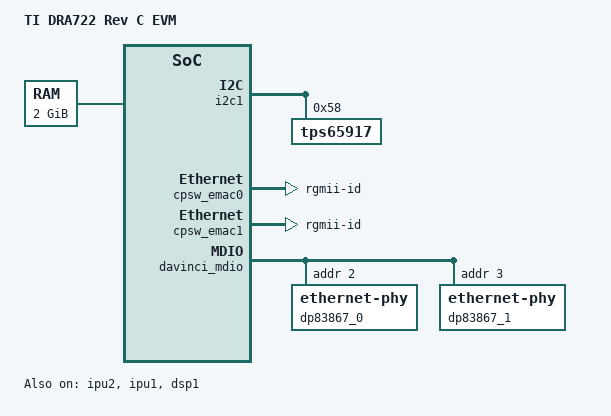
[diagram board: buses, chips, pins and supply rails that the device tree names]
/*
 * Copyright (C) 2016 Texas Instruments Incorporated - http://www.ti.com/
 *
 * This program is free software; you can redistribute it and/or modify
 * it under the terms of the GNU General Public License version 2 as
 * published by the Free Software Foundation.
 */
#include "dra72-evm-common.dtsi"
#include <dt-bindings/net/ti-dp83867.h>

/ {
	model = "TI DRA722 Rev C EVM";

	memory {
		device_type = "memory";
		reg = <0x0 0x80000000 0x0 0x80000000>; /* 2GB */
	};

	reserved-memory {
		#address-cells = <2>;
		#size-cells = <2>;
		ranges;

		ipu2_cma_pool: ipu2_cma@95800000 {
			compatible = "shared-dma-pool";
			reg = <0x0 0x95800000 0x0 0x3800000>;
			reusable;
			status = "okay";
		};

		dsp1_cma_pool: dsp1_cma@99000000 {
			compatible = "shared-dma-pool";
			reg = <0x0 0x99000000 0x0 0x4000000>;
			reusable;
			status = "okay";
		};

		ipu1_cma_pool: ipu1_cma@9d000000 {
			compatible = "shared-dma-pool";
			reg = <0x0 0x9d000000 0x0 0x2000000>;
			reusable;
			status = "okay";
		};
	};
};

&i2c1 {
	tps65917: tps65917@58 {
		reg = <0x58>;

		interrupts = <GIC_SPI 2 IRQ_TYPE_NONE>;  /* IRQ_SYS_1N */
	};
};

#include "dra72-evm-tps65917.dtsi"

&dra7_pmx_core {
	mmc1_pins_sdr12: pinmux_mmc1_sdr12_pins {
		pinctrl-single,pins = <
			0x354 (PIN_INPUT_PULLUP | MUX_MODE0)	/* mmc1_clk.clk */
			0x358 (PIN_INPUT_PULLUP | MUX_MODE0)	/* mmc1_cmd.cmd */
			0x35c (PIN_INPUT_PULLUP | MUX_MODE0)	/* mmc1_dat0.dat0 */
			0x360 (PIN_INPUT_PULLUP | MUX_MODE0)	/* mmc1_dat1.dat1 */
			0x364 (PIN_INPUT_PULLUP | MUX_MODE0)	/* mmc1_dat2.dat2 */
			0x368 (PIN_INPUT_PULLUP | MUX_MODE0)	/* mmc1_dat3.dat3 */
		>;
	};

	mmc1_pins_hs: mmc1_pins_hs {
		pinctrl-single,pins = <
			0x354 (PIN_INPUT_PULLUP | MUX_MODE0) /* mmc1_clk.clk */
			0x358 (PIN_INPUT_PULLUP | MUX_MODE0) /* mmc1_cmd.cmd */
			0x35c (PIN_INPUT_PULLUP | MUX_MODE0) /* mmc1_dat0.dat0 */
			0x360 (PIN_INPUT_PULLUP | MUX_MODE0) /* mmc1_dat1.dat1 */
			0x364 (PIN_INPUT_PULLUP | MUX_MODE0) /* mmc1_dat2.dat2 */
			0x368 (PIN_INPUT_PULLUP | MUX_MODE0) /* mmc1_dat3.dat3 */
		>;
	};

	mmc1_pins_sdr25: pinmux_mmc1_sdr25_pins {
		pinctrl-single,pins = <
			0x354 (PIN_INPUT_PULLUP | MUX_MODE0)	/* mmc1_clk.clk */
			0x358 (PIN_INPUT_PULLUP | MUX_MODE0)	/* mmc1_cmd.cmd */
			0x35c (PIN_INPUT_PULLUP | MUX_MODE0)	/* mmc1_dat0.dat0 */
			0x360 (PIN_INPUT_PULLUP | MUX_MODE0)	/* mmc1_dat1.dat1 */
			0x364 (PIN_INPUT_PULLUP | MUX_MODE0)	/* mmc1_dat2.dat2 */
			0x368 (PIN_INPUT_PULLUP | MUX_MODE0)	/* mmc1_dat3.dat3 */
		>;
	};

	mmc1_pins_sdr50: pinmux_mmc1_sdr50_pins {
		pinctrl-single,pins = <
			0x354 (PIN_INPUT_PULLUP | MUX_VIRTUAL_MODE15 | MUX_MODE0)	/* mmc1_clk.clk */
			0x358 (PIN_INPUT_PULLUP | MUX_VIRTUAL_MODE15 | MUX_MODE0)	/* mmc1_cmd.cmd */
			0x35c (PIN_INPUT_PULLUP | MUX_VIRTUAL_MODE15 | MUX_MODE0)	/* mmc1_dat0.dat0 */
			0x360 (PIN_INPUT_PULLUP | MUX_VIRTUAL_MODE15 | MUX_MODE0)	/* mmc1_dat1.dat1 */
			0x364 (PIN_INPUT_PULLUP | MUX_VIRTUAL_MODE15 | MUX_MODE0)	/* mmc1_dat2.dat2 */
			0x368 (PIN_INPUT_PULLUP | MUX_VIRTUAL_MODE15 | MUX_MODE0)	/* mmc1_dat3.dat3 */
		>;
	};

	mmc1_pins_ddr50: pinmux_mmc1_ddr50_pins {
		pinctrl-single,pins = <
			0x354 (PIN_INPUT_PULLUP | MANUAL_MODE | MUX_MODE0)	/* mmc1_clk.clk */
			0x358 (PIN_INPUT_PULLUP | MANUAL_MODE | MUX_MODE0)	/* mmc1_cmd.cmd */
			0x35c (PIN_INPUT_PULLUP | MANUAL_MODE | MUX_MODE0)	/* mmc1_dat0.dat0 */
			0x360 (PIN_INPUT_PULLUP | MANUAL_MODE | MUX_MODE0)	/* mmc1_dat1.dat1 */
			0x364 (PIN_INPUT_PULLUP | MANUAL_MODE | MUX_MODE0)	/* mmc1_dat2.dat2 */
			0x368 (PIN_INPUT_PULLUP | MANUAL_MODE | MUX_MODE0)	/* mmc1_dat3.dat3 */
		>;
	};

	mmc1_pins_sdr104: pinmux_mmc1_sdr104_pins {
		pinctrl-single,pins = <
			0x354 (PIN_INPUT_PULLUP | MANUAL_MODE | MUX_MODE0)	/* mmc1_clk.clk */
			0x358 (PIN_INPUT_PULLUP | MANUAL_MODE | MUX_MODE0)	/* mmc1_cmd.cmd */
			0x35c (PIN_INPUT_PULLUP | MANUAL_MODE | MUX_MODE0)	/* mmc1_dat0.dat0 */
			0x360 (PIN_INPUT_PULLUP | MANUAL_MODE | MUX_MODE0)	/* mmc1_dat1.dat1 */
			0x364 (PIN_INPUT_PULLUP | MANUAL_MODE | MUX_MODE0)	/* mmc1_dat2.dat2 */
			0x368 (PIN_INPUT_PULLUP | MANUAL_MODE | MUX_MODE0)	/* mmc1_dat3.dat3 */
		>;
	};

	mmc2_pins_default: mmc2_pins_default {
		pinctrl-single,pins = <
			0x9c (PIN_INPUT_PULLUP | MUX_MODE1) /* gpmc_a23.mmc2_clk */
			0xb0 (PIN_INPUT_PULLUP | MUX_MODE1) /* gpmc_cs1.mmc2_cmd */
			0xa0 (PIN_INPUT_PULLUP | MUX_MODE1) /* gpmc_a24.mmc2_dat0 */
			0xa4 (PIN_INPUT_PULLUP | MUX_MODE1) /* gpmc_a25.mmc2_dat1 */
			0xa8 (PIN_INPUT_PULLUP | MUX_MODE1) /* gpmc_a26.mmc2_dat2 */
			0xac (PIN_INPUT_PULLUP | MUX_MODE1) /* gpmc_a27.mmc2_dat3 */
			0x8c (PIN_INPUT_PULLUP | MUX_MODE1) /* gpmc_a19.mmc2_dat4 */
			0x90 (PIN_INPUT_PULLUP | MUX_MODE1) /* gpmc_a20.mmc2_dat5 */
			0x94 (PIN_INPUT_PULLUP | MUX_MODE1) /* gpmc_a21.mmc2_dat6 */
			0x98 (PIN_INPUT_PULLUP | MUX_MODE1) /* gpmc_a22.mmc2_dat7 */
		>;
	};

	mmc2_pins_hs: mmc2_pins_hs {
		pinctrl-single,pins = <
			0x9c (PIN_INPUT_PULLUP | MUX_MODE1) /* gpmc_a23.mmc2_clk */
			0xb0 (PIN_INPUT_PULLUP | MUX_MODE1) /* gpmc_cs1.mmc2_cmd */
			0xa0 (PIN_INPUT_PULLUP | MUX_MODE1) /* gpmc_a24.mmc2_dat0 */
			0xa4 (PIN_INPUT_PULLUP | MUX_MODE1) /* gpmc_a25.mmc2_dat1 */
			0xa8 (PIN_INPUT_PULLUP | MUX_MODE1) /* gpmc_a26.mmc2_dat2 */
			0xac (PIN_INPUT_PULLUP | MUX_MODE1) /* gpmc_a27.mmc2_dat3 */
			0x8c (PIN_INPUT_PULLUP | MUX_MODE1) /* gpmc_a19.mmc2_dat4 */
			0x90 (PIN_INPUT_PULLUP | MUX_MODE1) /* gpmc_a20.mmc2_dat5 */
			0x94 (PIN_INPUT_PULLUP | MUX_MODE1) /* gpmc_a21.mmc2_dat6 */
			0x98 (PIN_INPUT_PULLUP | MUX_MODE1) /* gpmc_a22.mmc2_dat7 */
		>;
	};

	mmc2_pins_ddr_1_8v: mmc2_pins_ddr_1_8v {
		pinctrl-single,pins = <
			0x9c (PIN_INPUT_PULLUP | MANUAL_MODE | MUX_MODE1) /* gpmc_a23.mmc2_clk */
			0xb0 (PIN_INPUT_PULLUP | MANUAL_MODE | MUX_MODE1) /* gpmc_cs1.mmc2_cmd */
			0xa0 (PIN_INPUT_PULLUP | MANUAL_MODE | MUX_MODE1) /* gpmc_a24.mmc2_dat0 */
			0xa4 (PIN_INPUT_PULLUP | MANUAL_MODE | MUX_MODE1) /* gpmc_a25.mmc2_dat1 */
			0xa8 (PIN_INPUT_PULLUP | MANUAL_MODE | MUX_MODE1) /* gpmc_a26.mmc2_dat2 */
			0xac (PIN_INPUT_PULLUP | MANUAL_MODE | MUX_MODE1) /* gpmc_a27.mmc2_dat3 */
			0x8c (PIN_INPUT_PULLUP | MANUAL_MODE | MUX_MODE1) /* gpmc_a19.mmc2_dat4 */
			0x90 (PIN_INPUT_PULLUP | MANUAL_MODE | MUX_MODE1) /* gpmc_a20.mmc2_dat5 */
			0x94 (PIN_INPUT_PULLUP | MANUAL_MODE | MUX_MODE1) /* gpmc_a21.mmc2_dat6 */
			0x98 (PIN_INPUT_PULLUP | MANUAL_MODE | MUX_MODE1) /* gpmc_a22.mmc2_dat7 */
		>;
	};

	mmc2_pins_hs200_1_8v: mmc2_pins_hs200_1_8v {
		pinctrl-single,pins = <
			0x9c (PIN_INPUT_PULLUP | MANUAL_MODE | MUX_MODE1) /* gpmc_a23.mmc2_clk */
			0xb0 (PIN_INPUT_PULLUP | MANUAL_MODE | MUX_MODE1) /* gpmc_cs1.mmc2_cmd */
			0xa0 (PIN_INPUT_PULLUP | MANUAL_MODE | MUX_MODE1) /* gpmc_a24.mmc2_dat0 */
			0xa4 (PIN_INPUT_PULLUP | MANUAL_MODE | MUX_MODE1) /* gpmc_a25.mmc2_dat1 */
			0xa8 (PIN_INPUT_PULLUP | MANUAL_MODE | MUX_MODE1) /* gpmc_a26.mmc2_dat2 */
			0xac (PIN_INPUT_PULLUP | MANUAL_MODE | MUX_MODE1) /* gpmc_a27.mmc2_dat3 */
			0x8c (PIN_INPUT_PULLUP | MANUAL_MODE | MUX_MODE1) /* gpmc_a19.mmc2_dat4 */
			0x90 (PIN_INPUT_PULLUP | MANUAL_MODE | MUX_MODE1) /* gpmc_a20.mmc2_dat5 */
			0x94 (PIN_INPUT_PULLUP | MANUAL_MODE | MUX_MODE1) /* gpmc_a21.mmc2_dat6 */
			0x98 (PIN_INPUT_PULLUP | MANUAL_MODE | MUX_MODE1) /* gpmc_a22.mmc2_dat7 */
		>;
	};
};

&dra7_iodelay_core {

	mmc1_iodelay_ddr50_conf: mmc1_iodelay_ddr50_conf {
		pinctrl-single,pins = <
			0x618 (A_DELAY(0) | G_DELAY(0))		/* CFG_MMC1_CLK_IN */
			0x624 (A_DELAY(0) | G_DELAY(0))		/* CFG_MMC1_CMD_IN */
			0x630 (A_DELAY(495) | G_DELAY(0))	/* CFG_MMC1_DAT0_IN */
			0x63C (A_DELAY(116) | G_DELAY(0))	/* CFG_MMC1_DAT1_IN */
			0x648 (A_DELAY(117) | G_DELAY(0))	/* CFG_MMC1_DAT2_IN */
			0x654 (A_DELAY(32) | G_DELAY(0))	/* CFG_MMC1_DAT3_IN */
			0x620 (A_DELAY(1224) | G_DELAY(0))	/* CFG_MMC1_CLK_OUT */
			0x62C (A_DELAY(0) | G_DELAY(0))		/* CFG_MMC1_CMD_OUT */
			0x638 (A_DELAY(44) | G_DELAY(0))	/* CFG_MMC1_DAT0_OUT */
			0x644 (A_DELAY(64) | G_DELAY(0))	/* CFG_MMC1_DAT1_OUT */
			0x650 (A_DELAY(79) | G_DELAY(0))	/* CFG_MMC1_DAT2_OUT */
			0x65C (A_DELAY(87) | G_DELAY(0))	/* CFG_MMC1_DAT3_OUT */
			0x628 (A_DELAY(0) | G_DELAY(0))		/* CFG_MMC1_CMD_OEN */
			0x634 (A_DELAY(0) | G_DELAY(0))		/* CFG_MMC1_DAT0_OEN */
			0x640 (A_DELAY(0) | G_DELAY(0))		/* CFG_MMC1_DAT1_OEN */
			0x64C (A_DELAY(0) | G_DELAY(0))		/* CFG_MMC1_DAT2_OEN */
			0x658 (A_DELAY(0) | G_DELAY(0))		/* CFG_MMC1_DAT3_OEN */
		>;
	};

	mmc1_iodelay_sdr104_conf: mmc1_iodelay_sdr104_conf {
		pinctrl-single,pins = <
			0x620 (A_DELAY(520) | G_DELAY(320))	/* CFG_MMC1_CLK_OUT */
			0x62c (A_DELAY(0) | G_DELAY(0))		/* CFG_MMC1_CMD_OUT */
			0x638 (A_DELAY(40) | G_DELAY(0))	/* CFG_MMC1_DAT0_OUT */
			0x644 (A_DELAY(83) | G_DELAY(0))	/* CFG_MMC1_DAT1_OUT */
			0x650 (A_DELAY(98) | G_DELAY(0))	/* CFG_MMC1_DAT2_OUT */
			0x65c (A_DELAY(106) | G_DELAY(0))	/* CFG_MMC1_DAT3_OUT */
			0x628 (A_DELAY(51) | G_DELAY(0))	/* CFG_MMC1_CMD_OEN */
			0x634 (A_DELAY(0) | G_DELAY(0))		/* CFG_MMC1_DAT0_OEN */
			0x640 (A_DELAY(363) | G_DELAY(0))	/* CFG_MMC1_DAT1_OEN */
			0x64c (A_DELAY(199) | G_DELAY(0))	/* CFG_MMC1_DAT2_OEN */
			0x658 (A_DELAY(273) | G_DELAY(0))	/* CFG_MMC1_DAT3_OEN */
		>;
	};

	mmc2_iodelay_ddr_1_8v_conf: mmc2_iodelay_ddr_1_8v_conf {
		pinctrl-single,pins = <
			0x18c (A_DELAY(0) | G_DELAY(0))		/* CFG_GPMC_A19_IN */
			0x1a4 (A_DELAY(121) | G_DELAY(0))	/* CFG_GPMC_A20_IN */
			0x1b0 (A_DELAY(0) | G_DELAY(0))		/* CFG_GPMC_A21_IN */
			0x1bc (A_DELAY(20) | G_DELAY(0))	/* CFG_GPMC_A22_IN */
			0x1c8 (A_DELAY(108) | G_DELAY(0))	/* CFG_GPMC_A23_IN */
			0x1d4 (A_DELAY(31) | G_DELAY(0))	/* CFG_GPMC_A24_IN */
			0x1e0 (A_DELAY(0) | G_DELAY(0))		/* CFG_GPMC_A25_IN */
			0x1ec (A_DELAY(24) | G_DELAY(0))	/* CFG_GPMC_A26_IN */
			0x1f8 (A_DELAY(0) | G_DELAY(0))		/* CFG_GPMC_A27_IN */
			0x360 (A_DELAY(0) | G_DELAY(0))		/* CFG_GPMC_CS1_IN */
			0x194 (A_DELAY(152) | G_DELAY(0))	/* CFG_GPMC_A19_OUT */
			0x1ac (A_DELAY(206) | G_DELAY(0))	/* CFG_GPMC_A20_OUT */
			0x1b8 (A_DELAY(78) | G_DELAY(0))	/* CFG_GPMC_A21_OUT */
			0x1c4 (A_DELAY(2) | G_DELAY(0))		/* CFG_GPMC_A22_OUT */
			0x1d0 (A_DELAY(266) | G_DELAY(0))	/* CFG_GPMC_A23_OUT */
			0x1dc (A_DELAY(0) | G_DELAY(0))		/* CFG_GPMC_A24_OUT */
			0x1e8 (A_DELAY(0) | G_DELAY(0))		/* CFG_GPMC_A25_OUT */
			0x1f4 (A_DELAY(43) | G_DELAY(0))	/* CFG_GPMC_A26_OUT */
			0x200 (A_DELAY(0) | G_DELAY(0))		/* CFG_GPMC_A27_OUT */
			0x368 (A_DELAY(0) | G_DELAY(0))		/* CFG_GPMC_CS1_OUT */
			0x190 (A_DELAY(0) | G_DELAY(0))		/* CFG_GPMC_A19_OEN */
			0x1a8 (A_DELAY(0) | G_DELAY(0))		/* CFG_GPMC_A20_OEN */
			0x1b4 (A_DELAY(0) | G_DELAY(0))		/* CFG_GPMC_A21_OEN */
			0x1c0 (A_DELAY(0) | G_DELAY(0))		/* CFG_GPMC_A22_OEN */
			0x1d8 (A_DELAY(0) | G_DELAY(0))		/* CFG_GPMC_A24_OEN */
			0x1e4 (A_DELAY(0) | G_DELAY(0))		/* CFG_GPMC_A25_OEN */
			0x1f0 (A_DELAY(0) | G_DELAY(0))		/* CFG_GPMC_A26_OEN */
			0x1fc (A_DELAY(0) | G_DELAY(0))		/* CFG_GPMC_A27_OEN */
			0x364 (A_DELAY(0) | G_DELAY(0))		/* CFG_GPMC_CS1_OEN */
		>;
	};

	mmc2_iodelay_hs200_1_8v_conf: mmc2_iodelay_hs200_1_8v_conf {
		pinctrl-single,pins = <
			0x194 (A_DELAY(135) | G_DELAY(0))	/* CFG_GPMC_A19_OUT */
			0x1ac (A_DELAY(189) | G_DELAY(0))	/* CFG_GPMC_A20_OUT */
			0x1b8 (A_DELAY(0) | G_DELAY(120))	/* CFG_GPMC_A21_OUT */
			0x1c4 (A_DELAY(0) | G_DELAY(70))	/* CFG_GPMC_A22_OUT */
			0x1d0 (A_DELAY(730) | G_DELAY(360))	/* CFG_GPMC_A23_OUT */
			0x1dc (A_DELAY(0) | G_DELAY(0))		/* CFG_GPMC_A24_OUT */
			0x1e8 (A_DELAY(0) | G_DELAY(0))		/* CFG_GPMC_A25_OUT */
			0x1f4 (A_DELAY(70) | G_DELAY(0))	/* CFG_GPMC_A26_OUT */
			0x200 (A_DELAY(0) | G_DELAY(0))		/* CFG_GPMC_A27_OUT */
			0x368 (A_DELAY(0) | G_DELAY(120))	/* CFG_GPMC_CS1_OUT */
			0x190 (A_DELAY(0) | G_DELAY(0))		/* CFG_GPMC_A19_OEN */
			0x1a8 (A_DELAY(231) | G_DELAY(0))	/* CFG_GPMC_A20_OEN */
			0x1b4 (A_DELAY(39) | G_DELAY(0))	/* CFG_GPMC_A21_OEN */
			0x1c0 (A_DELAY(91) | G_DELAY(0))	/* CFG_GPMC_A22_OEN */
			0x1d8 (A_DELAY(176) | G_DELAY(0))	/* CFG_GPMC_A24_OEN */
			0x1e4 (A_DELAY(0) | G_DELAY(0))		/* CFG_GPMC_A25_OEN */
			0x1f0 (A_DELAY(101) | G_DELAY(0))	/* CFG_GPMC_A26_OEN */
			0x1fc (A_DELAY(0) | G_DELAY(0))		/* CFG_GPMC_A27_OEN */
			0x364 (A_DELAY(360) | G_DELAY(0))	/* CFG_GPMC_CS1_OEN */
		>;
	};
};

&ldo2_reg {
	/* LDO2_OUT --> VDDA_1V8_PHY2 */
	regulator-always-on;
	regulator-boot-on;
};

&hdmi {
	vdda_video-supply = <&ldo2_reg>;
};

&pcf_gpio_21 {
	interrupt-parent = <&gpio3>;
	interrupts = <30 IRQ_TYPE_EDGE_FALLING>;
};

&mac {
	mode-gpios = <&pcf_gpio_21 4 GPIO_ACTIVE_LOW>,
		     <&pcf_hdmi 9 GPIO_ACTIVE_LOW>,	/* P11 */
		     <&pcf_hdmi 10 GPIO_ACTIVE_LOW>;	/* P12 */
	dual_emac;
};

&cpsw_emac0 {
	phy_id = <&davinci_mdio>, <2>;
	phy-mode = "rgmii-id";
	dual_emac_res_vlan = <1>;
};

&cpsw_emac1 {
	phy_id = <&davinci_mdio>, <3>;
	phy-mode = "rgmii-id";
	dual_emac_res_vlan = <2>;
};

&davinci_mdio {
	dp83867_0: ethernet-phy@2 {
		reg = <2>;
		ti,rx-internal-delay = <DP83867_RGMIIDCTL_2_25_NS>;
		ti,tx-internal-delay = <DP83867_RGMIIDCTL_250_PS>;
		ti,fifo-depth = <DP83867_PHYCR_FIFO_DEPTH_8_B_NIB>;
		ti,min-output-impedance;
	};

	dp83867_1: ethernet-phy@3 {
		reg = <3>;
		ti,rx-internal-delay = <DP83867_RGMIIDCTL_2_25_NS>;
		ti,tx-internal-delay = <DP83867_RGMIIDCTL_250_PS>;
		ti,fifo-depth = <DP83867_PHYCR_FIFO_DEPTH_8_B_NIB>;
		ti,min-output-impedance;
	};
};

&mmc1 {
	pinctrl-names = "default", "hs", "sdr12", "sdr25", "sdr50", "ddr50", "sdr104";
	pinctrl-0 = <&mmc1_pins_default>;
	pinctrl-1 = <&mmc1_pins_hs>;
	pinctrl-2 = <&mmc1_pins_sdr12>;
	pinctrl-3 = <&mmc1_pins_sdr25>;
	pinctrl-4 = <&mmc1_pins_sdr50>;
	pinctrl-5 = <&mmc1_pins_ddr50 &mmc1_iodelay_ddr50_conf>;
	pinctrl-6 = <&mmc1_pins_sdr104 &mmc1_iodelay_sdr104_conf>;
};

&mmc2 {
	pinctrl-names = "default", "hs", "ddr_1_8v", "hs200_1_8v";
	pinctrl-0 = <&mmc2_pins_default>;
	pinctrl-1 = <&mmc2_pins_hs>;
	pinctrl-2 = <&mmc2_pins_ddr_1_8v &mmc2_iodelay_ddr_1_8v_conf>;
	pinctrl-3 = <&mmc2_pins_hs200_1_8v &mmc2_iodelay_hs200_1_8v_conf>;
};

&ipu2 {
	status = "okay";
	memory-region = <&ipu2_cma_pool>;
};

&ipu1 {
	status = "okay";
	memory-region = <&ipu1_cma_pool>;
};

&dsp1 {
	status = "okay";
	memory-region = <&dsp1_cma_pool>;
};
